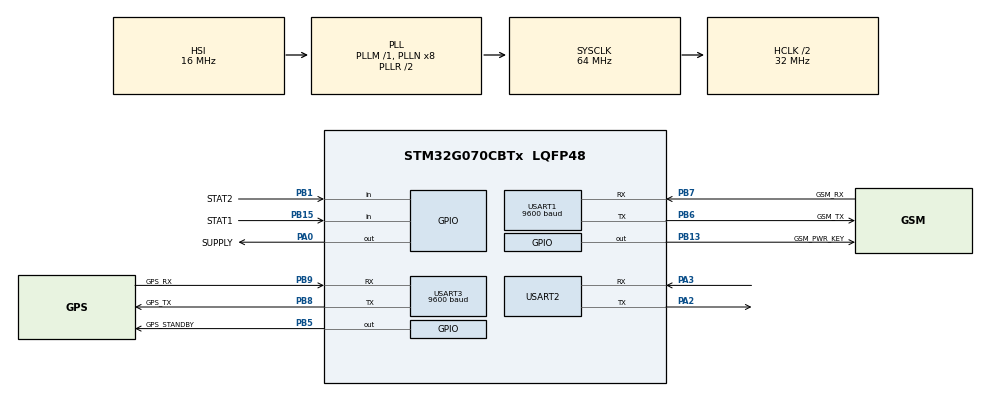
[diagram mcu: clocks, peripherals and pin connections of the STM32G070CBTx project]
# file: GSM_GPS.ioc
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Mcu.Family=STM32G0
Mcu.Name=STM32G070CBTx
Mcu.Package=LQFP48
NVIC.TIM6_IRQn=true\:0\:0\:false\:false\:true\:true\:true
NVIC.TIM7_IRQn=true\:0\:0\:false\:false\:true\:true\:true
NVIC.USART1_IRQn=true\:0\:0\:false\:false\:true\:true\:true
NVIC.USART3_4_IRQn=true\:0\:0\:false\:false\:true\:true\:true
PA0.GPIO_Label=SUPPLY
PA0.Signal=GPIO_Output
PA2.Mode=Asynchronous
PA2.Signal=USART2_TX
PA3.Mode=Asynchronous
PA3.Signal=USART2_RX
PB1.GPIO_Label=STAT2
PB1.Signal=GPIO_Input
PB13.GPIO_Label=GSM_PWR_KEY
PB13.Signal=GPIO_Output
PB15.GPIO_Label=STAT1
PB15.Signal=GPIO_Input
PB5.GPIO_Label=GPS_STANDBY
PB5.Signal=GPIO_Output
PB6.GPIO_Label=GSM_TX
PB6.Mode=Asynchronous
PB6.Signal=USART1_TX
PB7.GPIO_Label=GSM_RX
PB7.Mode=Asynchronous
PB7.Signal=USART1_RX
PB8.GPIO_Label=GPS_TX
PB8.Mode=Asynchronous
PB8.Signal=USART3_TX
PB9.GPIO_Label=GPS_RX
PB9.Mode=Asynchronous
PB9.Signal=USART3_RX
ProjectManager.HeapSize=0x200
ProjectManager.StackSize=0x400
ProjectManager.TargetToolchain=MDK-ARM V5.27
RCC.ADCFreq_Value=64000000
RCC.AHBCLKDivider=RCC_SYSCLK_DIV2
RCC.AHBFreq_Value=32000000
RCC.CortexFreq_Value=32000000
RCC.EXTERNAL_CLOCK_VALUE=48000
RCC.HCLKFreq_Value=32000000
RCC.HSE_VALUE=8000000
RCC.HSI_VALUE=16000000
RCC.LSE_VALUE=32768
RCC.SYSCLKFreq_VALUE=64000000
RCC.SYSCLKSource=RCC_SYSCLKSOURCE_PLLCLK
RCC.VCOOutputFreq_Value=128000000
USART1.BaudRate=9600
USART1.VirtualMode-Asynchronous=VM_ASYNC
USART2.VirtualMode-Asynchronous=VM_ASYNC
USART3.BaudRate=9600
USART3.VirtualMode-Asynchronous=VM_ASYNC
VP_SYS_VS_DBSignals.Mode=DisableDeadBatterySignals
VP_TIM6_VS_ClockSourceINT.Mode=Enable_Timer
VP_TIM7_VS_ClockSourceINT.Mode=Enable_Timer
board=custom

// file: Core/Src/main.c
/* USER CODE BEGIN Header */
/**
  ******************************************************************************
  * @file           : main.c
  * @brief          : Main program body
  ******************************************************************************
  * @attention
  *
  * <h2><center>&copy; Copyright (c) 2022 STMicroelectronics.
  * All rights reserved.</center></h2>
  *
  * This software component is licensed by ST under BSD 3-Clause license,
  * the "License"; You may not use this file except in compliance with the
  * License. You may obtain a copy of the License at:
  *                        opensource.org/licenses/BSD-3-Clause
  *
  ******************************************************************************
  */
/* USER CODE END Header */
#include "main.h"
#include "tim.h"
#include "usart.h"
#include "gpio.h"

/* USER CODE BEGIN Includes */

#include <stdio.h>
#include <string.h>
#include "gps.h"
#include "iwdg.h"
/* USER CODE END Includes */

/* USER CODE BEGIN PTD */

#define DEBUG
#ifdef DEBUG
#define DBG_MSG(...)   printf(__VA_ARGS__)
#else
#define DBG_MSG(...)
#endif
/* USER CODE END PTD */

/* USER CODE BEGIN PM */
#define MAJOR    0
#define MINOR    1
#define TEST_URL    0
#define HTTP_POST_WAIT_TIME     60000  // 90 seconds
#define GSM_RX_BUFFER_SIZE       1024

// uncomment required sim  and comment other
//#define VODA_IDEA
#define AIRTEL

#if defined(VODA_IDEA)
#define SIM_APN       "internet"
#elif  defined(AIRTEL)
#define SIM_APN       "airtelgprs.com"
#else
#define SIM_APN       "internet"
#endif

/* USER CODE END PM */

/* USER CODE BEGIN PV */
uint8_t gps_rx_buf[1024];
char at_tx_cmd_buff[256];
uint8_t GPS_RxBuffer[256];
volatile uint8_t gsm_rx_byte;
volatile uint8_t gps_rx_byte;
uint8_t gps_byte_count;
uint8_t sim800_send_data = 1;
uint8_t sim800_check_response = 0;
uint8_t error_count = 0;
uint8_t gps_recv_complete_flag, gps_string_f;
uint8_t gsm_rx_buf[GSM_RX_BUFFER_SIZE];
static uint16_t gsm_rx_byte_count = 0;
char payload[256];
uint8_t payload_len;
uint32_t http_post_max_time = HTTP_POST_WAIT_TIME;
char gpgga_gprmc[] = "$PMTK314,0,1,0,1,0,0,0,0,0,0,0,0,0,0,0,0,0,0,0*28\r\n";

#if TEST_URL
char http_url[] = "AT+HTTPPARA=URL,http://eb83-27-57-100-36.ngrok.io/gps/gps.php\r\n";
char http_get_url[] = "AT+HTTPPARA=URL,http://361f-27-58-27-182.ngrok.io/gps/gps.php?data=devilal\r\n";
#else
char http_get_url[] = "";
//char http_url[] = "AT+HTTPPARA=URL,http://205.147.101.144:3888/vaishnav_tv/add_location\r\n";
//char http_url[] = "AT+HTTPPARA=URL,http://6198-117-99-161-242.ngrok.io/gps/gps.php\r\n";
char http_url[] = "AT+HTTPPARA=URL,http://needon.fluttertrends.com/api/location-store\r\n";
#endif

/* USER CODE END PV */

void SystemClock_Config(void);
/* USER CODE BEGIN PFP */
void clear_buffer(uint8_t *buff, uint16_t size);
void copy_buffer(uint8_t *dst, const uint8_t *src, uint16_t size);
void gsm_power_on(void);
void gsm_power_off(void);
void check_sim800_modem_ready(void);
void sim800_init(void);
void sim800_gprs_config(void);
void sim800_http_post(void);
void send_at_cmd(char *pdata);
static void at_receive(void);
static void at_clear_rx_buffer(void);
static void prepare_payload(void);

void enable_interrupt(void);
void disbale_interrupt(void);
/* USER CODE END PFP */

/* USER CODE BEGIN 0 */
extern uint32_t one_sec_delay;
extern uint32_t five_sec_delay;
extern uint32_t sim800_timeout;
extern uint32_t ten_ms_delay;
extern volatile tim_flag_t tim_flag;

// location variable
extern float latitude;
extern float longitude ;
extern uint8_t is_loc_valid;
char imei[15];
uint8_t is_sms_received = 0;
uint8_t sock_connected = 0;
uint8_t pdp_act = 0;

typedef enum
{
  ATE0_State,
  AT_CPIN,                     // sim card ready
  AT_GSN,                     // get IMEI number
  AT_CREG_State,              // get registration status
  AT_CGATT_State,             // query  gprs status
  AT_CGATT_SET_State,          // set gprs
  //--------------------------------------------------------------
  AT_SAPBR_CONTYPE_State,     // set CONTYPE in bearer profile
  AT_SAPBR_APN_State,         // set APN in bearer profile
  AT_SAPBR_ACTIVATE_State,    // open gprs context
  AT_SAPBR_IP_State,          // get ip from actiavted bearer
  AT_HTTP_INIT_State,
  AT_HTTPPARA_CID_State,
  AT_HTTPPARA_URL_State,
  AT_HTTPPARA_CONTENT_State,
  AT_HTTP_POST_DATA_LEN_State,
  AT_HTTPDATA_State,
  AT_HTTPACTION_State,          // 1- post, 0- get
  AT_HTTPREAD_State,
  AT_HTTPTERM_State,
  AT_SAPBR_DEACTIVATE_State,   // close gprs context
  //--------------------------------------------------------------
  AT_CPOWD,    // Manual Power Down
  //--------------------------------------------------------------
  AT_D,        // dial phone number used to make call
  AT_H,        // Hang a Call
  AT_CMGF,     // sms text mode
  AT_CMGR,     // for read sms
  AT_CMGD,     // for Delete SMS
  //--------------------------------------------------------------
  AT_CSTT,     // set APN
  AT_CIICR,    // bring wireless connection
  AT_CIFSR,    // get local ip
  AT_CIPSTART, // Start tcp Connection
  AT_CIPSEND,  // open window_to_send_data
  AT_DATA_TO_SEND, // intermediate state
  AT_CIPCLOSE,
  AT_CIPSHUT,
  //--------------------------------------------------------------
  AT_GPRS_CONF_DONE,
  AT_HTTP_DONE,
  AT_SMS_DONE,
}SIM800_AT_CMD_State;

SIM800_AT_CMD_State at_state = ATE0_State;

uint8_t sleep_mode_flag = 0;

char *AT_DEBUG[50] = {
  "ATE0_State\r\n",
  "AT_GSN\r\n",                     // get IMEI number
  "AT_CREG_State\r\n",              // get registration status
  "AT_CGATT_State\r\n",             // query  gprs status
  "AT_CGATT_SET_State\r\n",          // set gprs
  //--------------------------------------------------------------
  "AT_SAPBR_CONTYPE_State\r\n",     // set CONTYPE in bearer profile
  "AT_SAPBR_APN_State\r\n",         // set APN in bearer profile
  "AT_SAPBR_ACTIVATE_State\r\n",    // open gprs context
  "AT_SAPBR_IP_State\r\n",          // get ip from actiavted bearer
  "AT_HTTP_INIT_State\r\n",
  "AT_HTTPPARA_CID_State\r\n",
  "AT_HTTPPARA_URL_State\r\n",
  "AT_HTTPPARA_CONTENT_State\r\n",
  "AT_HTTP_POST_DATA_LEN_State\r\n",
  "AT_HTTPDATA_State\r\n",
  "AT_HTTPACTION_State\r\n",          // 1- post, 0- get
  "AT_HTTPREAD_State\r\n",
  "AT_HTTPTERM_State\r\n",
  "AT_SAPBR_DEACTIVATE_State\r\n",   // close gprs context
  //--------------------------------------------------------------
  "AT_CPOWD\r\n",    // Manual Power Down
  //--------------------------------------------------------------
  "AT_D\r\n",        // dial phone number used to make call
  "AT_H\r\n",        // Hang a Call
  "AT_CMGF\r\n",     // sms text mode
  "AT_CMGR\r\n",     // for read sms
  "AT_CMGD\r\n",     // for Delete SMS
  //--------------------------------------------------------------
  "AT_CSTT\r\n",     // set APN
  "AT_CIICR\r\n",    // bring wireless connection
  "AT_CIFSR\r\n",    // get local ip
  "AT_CIPSTART\r\n", // Start tcp Connection
  "AT_CIPSEND\r\n",  // open window_to_send_data
  "AT_DATA_TO_SEND\r\n", // intermediate state
  "AT_CIPCLOSE\r\n",
  "AT_CIPSHUT\r\n",
  //--------------------------------------------------------------
  "AT_GPRS_CONF_DONE\r\n",
  "AT_HTTP_DONE\r\n",
  "AT_SMS_DONE\r\n",
};
/* USER CODE END 0 */

int main(void)
{

  /* MCU Configuration--------------------------------------------------------*/

  /* Reset of all peripherals, Initializes the Flash interface and the Systick. */
  HAL_Init();

  /* Configure the system clock */
  SystemClock_Config();

  /* Initialize all configured peripherals */
  MX_GPIO_Init();
  MX_USART1_UART_Init();
  MX_USART2_UART_Init();
  MX_USART3_UART_Init();
  MX_TIM6_Init();
  MX_TIM7_Init();

  /* USER CODE BEGIN 2 */
//  IWDG_Init();
//  HAL_GPIO_WritePin(SUPPLY_GPIO_Port, SUPPLY_Pin, GPIO_PIN_SET);
  HAL_Delay(2000);
  DBG_MSG("soft ver-%d.%d\r\n", MAJOR, MINOR);
  gsm_power_on();
  check_sim800_modem_ready();
  sim800_init();
  sim800_gprs_config();

  /* Enable only gpgga and gprmc string  */
  HAL_UART_Transmit(&huart3,(uint8_t *)gpgga_gprmc, strlen(gpgga_gprmc),100);
  HAL_UART_Receive(&huart3,(uint8_t *)gps_rx_buf, 20,1000);

  /* fall through some times above cammand not executed */
  HAL_UART_Transmit(&huart3,(uint8_t *)gpgga_gprmc, strlen(gpgga_gprmc),100);
  HAL_UART_Receive(&huart3,(uint8_t *)gps_rx_buf, 20,1000);

  HAL_NVIC_SetPriority(USART3_4_IRQn, 0, 0);
  HAL_NVIC_EnableIRQ(USART3_4_IRQn);
  __HAL_UART_CLEAR_IT(&huart3,UART_IT_RXNE);
  __HAL_UART_ENABLE_IT(&huart3,UART_IT_RXNE);
  clear_buffer(gps_rx_buf, 256);
  HAL_UART_Receive_IT(&huart3, (uint8_t *)&gps_rx_byte,1);

  HAL_UART_Receive_IT(&huart1, (uint8_t *)&gsm_rx_byte,1);
//  HAL_UART_Transmit(&huart1, (uint8_t *)"AT\r\n", 4, 100);
  /* USER CODE END 2 */
  is_loc_valid = 1;
  /* Infinite loop */
  while (1)
  {

    /* USER CODE BEGIN 3 */
    if(tim_ten_ms_overflow())
    {
      if(gps_recv_complete_flag == 1)
      {
        gps_recv_complete_flag = 0;
        gps_string_f = 0;
        process_gps_data((char *)GPS_RxBuffer);
        __HAL_UART_CLEAR_IT(&huart3,UART_IT_RXNE);
        __HAL_UART_ENABLE_IT(&huart3,UART_IT_RXNE);
        HAL_NVIC_EnableIRQ(USART3_4_IRQn);
        HAL_UART_Receive_IT(&huart3, (uint8_t *)&gps_rx_byte,1);
      }
    }

    if(tim_one_sec_overflow())
    {
      if(strstr((char *)gsm_rx_buf, "+SAPBR 1: DEACT")>0)
      {
        pdp_act = 0;
      }

      if(strstr((char *)gsm_rx_buf, "RING")>0)
      {
        // Check Call
        clear_buffer(gsm_rx_buf, GSM_RX_BUFFER_SIZE);
        gsm_rx_byte_count = 0;
        send_at_cmd("ATH\r\n");
      }
    }

#if 1
    if(is_loc_valid)
    {
      DBG_MSG("{latitude : %.06f, longitude : %.06f}\r\n",latitude, longitude);
      is_loc_valid = 1;
      if(pdp_act == 0)
      {
        sim800_gprs_config();
      }
      DBG_MSG("--------------------HTTP POST--------------------");
      sim800_http_post();
      sleep_mode_flag = 1;
    }
#endif

    if(sleep_mode_flag == 1)
    {
      sleep_mode_flag = 0;
      disbale_interrupt();
      HAL_PWR_EnterSLEEPMode(PWR_LOWPOWERREGULATOR_ON, PWR_SLEEPENTRY_WFI);
      enable_interrupt();
    }
  }
  /* USER CODE END 3 */
}

void disbale_interrupt(void)
{
    HAL_SuspendTick();
    HAL_NVIC_ClearPendingIRQ(USART3_4_IRQn);
    HAL_NVIC_ClearPendingIRQ(USART1_IRQn);
    HAL_NVIC_DisableIRQ(USART3_4_IRQn);
    HAL_NVIC_DisableIRQ(USART1_IRQn);
    HAL_TIM_Base_Stop_IT(&htim6);
    NVIC->ICPR[0] = 0xFFFFFFFF;
    HAL_TIM_Base_Start_IT(&htim7);
}

void enable_interrupt(void)
{
    HAL_ResumeTick();
    HAL_TIM_Base_Stop_IT(&htim7);
    NVIC->ICPR[0] = 0xFFFFFFFF;
    HAL_NVIC_ClearPendingIRQ(USART3_4_IRQn);
    HAL_NVIC_ClearPendingIRQ(USART1_IRQn);
    HAL_NVIC_EnableIRQ(USART3_4_IRQn);
    HAL_NVIC_EnableIRQ(USART1_IRQn);
    HAL_TIM_Base_Start_IT(&htim6);
    HAL_UART_Receive_IT(&huart3, (uint8_t *)&gps_rx_byte,1);
    at_clear_rx_buffer();
    at_receive();
}

static void at_clear_rx_buffer(void)
{
  gsm_rx_byte_count= 0;
  memset(gsm_rx_buf, 0x00, sizeof(gsm_rx_buf));
}

static void at_receive(void)
{
  __HAL_UART_CLEAR_IT(&huart1, UART_IT_RXNE);
  HAL_UART_Receive_IT(&huart1, (uint8_t *)&gsm_rx_byte,1);
}

/* USER CODE BEGIN */

void sim800_http_post(void)
{
  uint8_t is_http_post_done = 0;
  uint32_t time_out = ONE_SEC_DELAY;
  at_state = AT_HTTP_INIT_State;
  uint32_t start_time = HAL_GetTick();
  sim800_send_data = 1;
  do{
    if(sim800_send_data)
    {
      DBG_MSG("%s", AT_DEBUG[at_state]);
      at_clear_rx_buffer();
      at_receive();
      switch(at_state)
      {
        case AT_HTTP_INIT_State:
          send_at_cmd("AT+HTTPINIT\r\n");
          break;

        case AT_HTTPPARA_CID_State:
           send_at_cmd("AT+HTTPPARA=\"CID\",1\r\n");
          break;

        case AT_HTTPPARA_URL_State:
           send_at_cmd(http_url);
          break;

        case AT_HTTPPARA_CONTENT_State:
          {
            char content_type[] = "AT+HTTPPARA=CONTENT,application/x-www-form-urlencoded\r\n";
            send_at_cmd(content_type);
          }
          break;

        case AT_HTTP_POST_DATA_LEN_State:
          {
            prepare_payload();
            char htpp_data_cmd[100];
            payload_len = payload_len -2;
            sprintf(htpp_data_cmd,"AT+HTTPDATA=%d,10000\r\n",payload_len);
            send_at_cmd(htpp_data_cmd);
          }
          break;

        case AT_HTTPDATA_State:
        {
           send_at_cmd(payload);
        }
        break;

        case AT_HTTPACTION_State:
          send_at_cmd("AT+HTTPACTION=1\r\n");
          time_out = THREE_SEC_DELAY;
          break;

        case AT_HTTPREAD_State:
           send_at_cmd("AT+HTTPREAD\r\n");
          time_out = ONE_SEC_DELAY;
          break;

        case AT_HTTPTERM_State:
          send_at_cmd("AT+HTTPTERM\r\n");
          break;

        case AT_CPOWD:
          send_at_cmd("AT+CPOWD=1\r\n");
          break;

        default:
          break;
      }
      sim800_send_data = 0;
      tim_flag.sim800_timeout_flag = 0;
      sim800_timeout += time_out;//FIVE_SEC_DELAY;
      sim800_check_response = 1;
    }

    if(sim800_timer_overflow())
    {
      DBG_MSG("%s",(char *)gsm_rx_buf);
      if(sim800_check_response)
      {
        sim800_check_response = 0;
        sim800_send_data = 1;

        if(strstr((char *)gsm_rx_buf, "+SAPBR 1: DEACT")>0)
        {
          pdp_act = 0;
        }

        if(strstr((char *)gsm_rx_buf,"\r\nERROR\r\n")>0)
        {
          error_count++;
          if(error_count > 5)
          {
            HAL_Delay(1000);
            at_state = AT_CPOWD;

          }
        }else
        {
          error_count = 0;
        }
        switch(at_state)
        {
          case AT_HTTP_INIT_State:
            if(strstr((char *)gsm_rx_buf,"\r\nOK\r\n")>0)
            {
              at_state = AT_HTTPPARA_CID_State;;
            }
            else
            {
              at_state = AT_HTTPTERM_State;
            }
            break;

          case AT_HTTPPARA_CID_State:
            if(strstr((char *)gsm_rx_buf,"\r\nOK\r\n")>0)
            {
              at_state = AT_HTTPPARA_URL_State;
            }
            break;

          case AT_HTTPPARA_URL_State:
            if(strstr((char *)gsm_rx_buf,"\r\nOK\r\n")>0)
            {
              at_state = AT_HTTPPARA_CONTENT_State;
            }
            break;

          case AT_HTTPPARA_CONTENT_State:
            if(strstr((char *)gsm_rx_buf,"\r\nOK\r\n")>0)
            {
              at_state = AT_HTTP_POST_DATA_LEN_State;
            }
            break;

          case AT_HTTP_POST_DATA_LEN_State:
            if(strstr((char *)gsm_rx_buf,"\r\nDOWNLOAD\r\n")>0)
            {
              at_state = AT_HTTPDATA_State;
            }
            break;

          case AT_HTTPDATA_State:
            if(strstr((char *)gsm_rx_buf,"\r\nOK\r\n")>0)
            {
              at_state = AT_HTTPACTION_State;
            }
            break;

          case AT_HTTPACTION_State:
            if(strstr((char *)gsm_rx_buf,"\r\n+HTTPACTION: 1,200,")>0)
            {
              at_state = AT_HTTPREAD_State;
            }
            else if(strstr((char *)gsm_rx_buf,"\r\n+HTTPACTION: 1,301,")>0)
            {
              at_state = AT_HTTPTERM_State;
            }
            else if(strstr((char *)gsm_rx_buf,"\r\n+HTTPACTION: 1,601,")>0)
            {
              at_state = AT_HTTPTERM_State;
            }else
            {
              sim800_send_data = 0;
              sim800_check_response = 1;
            }
            break;

          case AT_HTTPREAD_State:
            if(strstr((char *)gsm_rx_buf,"\r\n+HTTPREAD: ")>0)
            {
              at_state = AT_HTTPTERM_State;

            }
//              else if(strstr((char *)gsm_rx_buf,"\r\nOK\r\n")>0)
//            {
//              at_state = AT_HTTPTERM_State;
//            }
            break;

          case AT_HTTPTERM_State:
            if(strstr((char *)gsm_rx_buf,"\r\nOK\r\n")>0)
            {
              at_state = AT_HTTP_DONE;
              is_http_post_done = 1;
            }
            else
            {
              at_state = AT_HTTP_DONE;
              is_http_post_done = 1;
            }
            break;

          case AT_CPOWD:
            if(strstr((char *)gsm_rx_buf,"NORMAL POWER DOWN")>0)
            {
              HAL_Delay(2000);
              HAL_NVIC_SystemReset();
            }
            break;

          default:
            //at_state=  ATE0_State;
            break;
        }
      }
      at_clear_rx_buffer();
      at_receive();
    }

   if((HAL_GetTick()-start_time)>http_post_max_time)
   {
     is_http_post_done = 1;
   }
  }while((!is_http_post_done));
}

void sim800_gprs_config(void)
{
  sim800_send_data = 1;
  uint32_t time_out = ONE_SEC_DELAY;
  uint8_t is_gprs_init = 0;
  at_state = AT_CGATT_State;
  uint32_t start_time = HAL_GetTick();
  do{
    if(sim800_send_data)
    {
      DBG_MSG("%s",AT_DEBUG[at_state]);
      at_clear_rx_buffer();
      at_receive();
      switch(at_state)
      {
        case AT_CGATT_State:
          send_at_cmd("AT+CGATT?\r\n");
          break;

        case AT_CGATT_SET_State:
          send_at_cmd("AT+CGATT=1\r\n");
          break;

        case AT_SAPBR_CONTYPE_State:
          send_at_cmd("AT+SAPBR=3,1,\"CONTYPE\",\"GPRS\"\r\n");
          break;

        case AT_SAPBR_APN_State:
          {
            char temp_buff[50];
            sprintf(temp_buff,"AT+SAPBR=3,1,\"APN\","SIM_APN"\r\n"); //@TODO: to be checked
            send_at_cmd(&temp_buff[0]);
          }
          break;

        case AT_SAPBR_DEACTIVATE_State:
          send_at_cmd("AT+SAPBR=0,1\r\n");
          break;

        case AT_SAPBR_ACTIVATE_State:
          send_at_cmd("AT+SAPBR=1,1\r\n");
          break;

        case AT_SAPBR_IP_State:
          send_at_cmd("AT+SAPBR=2,1\r\n");
          break;

        case AT_CPOWD:
          send_at_cmd("AT+CPOWD=1\r\n");
          break;
        default:
          break;
      }
      sim800_send_data = 0;
      tim_flag.sim800_timeout_flag = 0;
      sim800_timeout += time_out;
      sim800_check_response = 1;
    }

    if(sim800_timer_overflow())
    {
      DBG_MSG("%s",(char *)gsm_rx_buf);
      if(sim800_check_response)
      {
        sim800_check_response = 0;
        switch(at_state)
        {
					case AT_CGATT_State:
						if(strstr((char *)gsm_rx_buf,"\r\n+CGATT: 1\r\n\r\nOK\r\n")>0)
						{
							at_state = AT_SAPBR_CONTYPE_State;
						}
						else
						{
							at_state = AT_CGATT_SET_State;
						}
						break;
					case AT_CGATT_SET_State:
						if(strstr((char *)gsm_rx_buf,"\r\nOK\r\n")>0)
						{
							at_state = AT_SAPBR_CONTYPE_State;
						}
						break;

          case AT_SAPBR_CONTYPE_State:
            if(strstr((char *)gsm_rx_buf,"\r\nOK\r\n")>0)
            {
              at_state = AT_SAPBR_APN_State;;
            }
            break;

          case AT_SAPBR_APN_State:
            if(strstr((char *)gsm_rx_buf,"\r\nOK\r\n")>0)
            {
              at_state = AT_SAPBR_DEACTIVATE_State;
            }
            break;

          case AT_SAPBR_DEACTIVATE_State:
            at_state = AT_SAPBR_ACTIVATE_State;
            break;

          case AT_SAPBR_ACTIVATE_State:
            if(strstr((char *)gsm_rx_buf,"\r\nOK\r\n")>0)
            {
              at_state = AT_SAPBR_IP_State;
            }
            break;

          case AT_SAPBR_IP_State:
            if(strstr((char *)gsm_rx_buf,"\r\n+SAPBR: 1,1,\"")>0)
            {
              pdp_act = 1;
              at_state = AT_GPRS_CONF_DONE;
              is_gprs_init = 1;
            }
            else if(strstr((char *)gsm_rx_buf,"\r\n+SAPBR: 1,3,\"")>0)
            {
              at_state = AT_CPOWD;
            }
            break;

          case AT_CPOWD:
            if(strstr((char *)gsm_rx_buf,"NORMAL POWER DOWN")>0)
            {
              HAL_Delay(2000);
              HAL_NVIC_SystemReset();
            }
            break;
          default:
            break;
        }
        sim800_send_data = 1;
      }

      if((HAL_GetTick()- start_time)> 60*1000)
      {
        start_time = HAL_GetTick();
        at_state = AT_CPOWD;
      }
    }
  }while(!is_gprs_init);
}

void sim800_init(void)
{
  uint32_t time_out = ONE_SEC_DELAY;
  uint8_t is_gsm_init = 0;
  at_state = ATE0_State;
  uint32_t start_time = HAL_GetTick();
  sim800_send_data = 1;
  do{
    if(sim800_send_data)
    {
      DBG_MSG("%s", AT_DEBUG[at_state]);

      at_clear_rx_buffer();
      at_receive();
      switch(at_state)
      {
        case ATE0_State:
          send_at_cmd("ATE0\r\n");
          send_at_cmd("ATE0\r\n");
          break;

         case AT_CPIN:
          send_at_cmd("AT+CPIN?\r\n");
          break;

        case AT_GSN:
          send_at_cmd("AT+GSN\r\n");
          break;

        case AT_CMGF:
          send_at_cmd("AT+CMGF=1\r\n");
        break;

        case AT_CREG_State:
          send_at_cmd("AT+CREG?\r\n");
          break;

        case AT_CPOWD:
          send_at_cmd("AT+CPOWD=1\r\n");
          break;

        default:
          break;
      }
      sim800_send_data = 0;
      tim_flag.sim800_timeout_flag = 0;
      sim800_timeout += time_out;
      sim800_check_response = 1;
    }

    if(sim800_timer_overflow())
    {
      if(sim800_check_response)
      {
        DBG_MSG("%s",(char *)gsm_rx_buf);
        sim800_check_response = 0;
        switch(at_state)
        {
          case ATE0_State:
            if(strncmp((char *)gsm_rx_buf,"\r\nOK\r\n",6)==0)
            {
              at_state = AT_CPIN;
            }
            break;

          case AT_CPIN:
            if (strstr((char *)gsm_rx_buf, "+CPIN: READY") > 0)
            {
              at_state = AT_GSN;
            }
            break;

          case AT_GSN:
            if(strstr((char *)gsm_rx_buf,"\r\nOK\r\n")>0)
            {
              if(gsm_rx_buf[2] >= 0x30 && gsm_rx_buf[2] <= 0x39)
              {
                strncpy(imei,(char *)&gsm_rx_buf[2],15);
              }
              else
              {
                strncpy(imei,(char *)&gsm_rx_buf[9],15);
              }
              at_state = AT_CMGF;
            }
            break;

          case AT_CMGF:
            if(strstr((char*)gsm_rx_buf,"\r\nOK\r\n")>0)
            {
              at_state = AT_CREG_State;
            }
            break;

          case AT_CREG_State:
            if(strstr((char *)gsm_rx_buf,"\r\n+CREG: 0,1")>0)
            {
              // home network
              is_gsm_init = 1;
            }
            else if(strstr((char *)gsm_rx_buf,"\r\n+CREG: 0,5")>0)
            {
              // roaming network
              is_gsm_init = 1;
            }
            break;

          case AT_CPOWD:
            if(strstr((char *)gsm_rx_buf,"NORMAL POWER DOWN")>0)
            {
              HAL_Delay(2000);
              HAL_NVIC_SystemReset();
            }
          default:
            break;
        }
        sim800_send_data = 1;
      }

      if((HAL_GetTick()- start_time)> 60*1000)
      {
        start_time = HAL_GetTick();
        at_state = AT_CPOWD;
      }
    }
  }while(!is_gsm_init);
}

void SystemClock_Config(void)
{
  RCC_OscInitTypeDef RCC_OscInitStruct = {0};
  RCC_ClkInitTypeDef RCC_ClkInitStruct = {0};
  RCC_PeriphCLKInitTypeDef PeriphClkInit = {0};

  /** Configure the main internal regulator output voltage
  */
  HAL_PWREx_ControlVoltageScaling(PWR_REGULATOR_VOLTAGE_SCALE1);
  /** Initializes the RCC Oscillators according to the specified parameters
  * in the RCC_OscInitTypeDef structure.
  */
  RCC_OscInitStruct.OscillatorType = RCC_OSCILLATORTYPE_HSI;
  RCC_OscInitStruct.HSIState = RCC_HSI_ON;
  RCC_OscInitStruct.HSIDiv = RCC_HSI_DIV1;
  RCC_OscInitStruct.HSICalibrationValue = RCC_HSICALIBRATION_DEFAULT;
  RCC_OscInitStruct.PLL.PLLState = RCC_PLL_ON;
  RCC_OscInitStruct.PLL.PLLSource = RCC_PLLSOURCE_HSI;
  RCC_OscInitStruct.PLL.PLLM = RCC_PLLM_DIV1;
  RCC_OscInitStruct.PLL.PLLN = 8;
  RCC_OscInitStruct.PLL.PLLP = RCC_PLLP_DIV2;
  RCC_OscInitStruct.PLL.PLLR = RCC_PLLR_DIV2;
  if (HAL_RCC_OscConfig(&RCC_OscInitStruct) != HAL_OK)
  {
    Error_Handler();
  }
  /** Initializes the CPU, AHB and APB buses clocks
  */
  RCC_ClkInitStruct.ClockType = RCC_CLOCKTYPE_HCLK|RCC_CLOCKTYPE_SYSCLK
                              |RCC_CLOCKTYPE_PCLK1;
  RCC_ClkInitStruct.SYSCLKSource = RCC_SYSCLKSOURCE_PLLCLK;
  RCC_ClkInitStruct.AHBCLKDivider = RCC_SYSCLK_DIV2;
  RCC_ClkInitStruct.APB1CLKDivider = RCC_HCLK_DIV1;

  if (HAL_RCC_ClockConfig(&RCC_ClkInitStruct, FLASH_LATENCY_1) != HAL_OK)
  {
    Error_Handler();
  }
  /** Initializes the peripherals clocks
  */
  PeriphClkInit.PeriphClockSelection = RCC_PERIPHCLK_USART1|RCC_PERIPHCLK_USART2;
  PeriphClkInit.Usart1ClockSelection = RCC_USART1CLKSOURCE_PCLK1;
  PeriphClkInit.Usart2ClockSelection = RCC_USART2CLKSOURCE_PCLK1;
  if (HAL_RCCEx_PeriphCLKConfig(&PeriphClkInit) != HAL_OK)
  {
    Error_Handler();
  }
}

/* USER CODE BEGIN 4 */
void HAL_UART_RxCpltCallback(UART_HandleTypeDef *huart)
{
  if(huart->Instance == huart3.Instance)
  {
    static uint8_t new_line_count = 0;;
    if( new_line_count == 2)
    {
      __HAL_UART_DISABLE_IT(&huart3, UART_IT_RXNE);
      HAL_NVIC_ClearPendingIRQ(USART3_4_IRQn);
      HAL_NVIC_DisableIRQ(USART3_4_IRQn);
      clear_buffer(GPS_RxBuffer, 256);
      copy_buffer(GPS_RxBuffer,gps_rx_buf,gps_byte_count);
      clear_buffer(gps_rx_buf, gps_byte_count);
      new_line_count = 0;
      gps_byte_count = 0;
      gps_recv_complete_flag = 1;
    }
    else
    {
      if((gps_rx_byte == '$') && (gps_byte_count == 0) && (gps_string_f == 0))
      {
        gps_rx_buf[gps_byte_count] = gps_rx_byte;
        gps_byte_count++;
        gps_string_f = 1;
      }
      else if(gps_string_f == 1)
      {
        if(gps_rx_byte == '\n')
        {
          new_line_count++;
        }
        gps_rx_buf[gps_byte_count] = gps_rx_byte;
        gps_byte_count++;
      }
      else
      {
        gps_byte_count = 0;
      }
      HAL_UART_Receive_IT(&huart3, (uint8_t *)&gps_rx_byte, 1);
    }
  }

  if(huart->Instance == USART1)
  {
    if(gsm_rx_byte_count > (GSM_RX_BUFFER_SIZE -1))
    {
      gsm_rx_byte_count = 0;
      clear_buffer(gsm_rx_buf, GSM_RX_BUFFER_SIZE);
    }
    gsm_rx_buf[gsm_rx_byte_count++] = gsm_rx_byte;
    HAL_UART_Receive_IT(&huart1, (uint8_t *)&gsm_rx_byte ,1);
  }
}

void copy_buffer(uint8_t *dst, const uint8_t *src, uint16_t size)
{
  while(size)
  {
    size--;
    *dst = *src;
    dst++;
    src++;
  }
}

static void prepare_payload(void)
{
  clear_buffer((uint8_t *)payload, 255);
#if TEST_URL
  payload_len = sprintf(payload,"data=lat:%.06f,lng:%.06f,from_input:%s,location:jaipur\r\n",latitude,longitude,imei);
#else
   //latitude = latitude + 1.0f;
  //payload_len = sprintf(payload,"lat=%.06f&lng=%.06f&from_input=%s&location=jaipur\r\n",latitude,longitude,imei);
  payload_len = sprintf(payload,"latitude=%.06f&longitude=%.06f&device_name=%s&location=jaipur\r\n",latitude,longitude,imei);
#endif
}

void gsm_power_on(void)
{
  HAL_GPIO_WritePin(GSM_PWR_KEY_GPIO_Port, GSM_PWR_KEY_Pin, GPIO_PIN_RESET);
  HAL_Delay(1200);
  HAL_GPIO_WritePin(GSM_PWR_KEY_GPIO_Port, GSM_PWR_KEY_Pin,GPIO_PIN_SET);
  HAL_Delay(2000);
}

void gsm_power_off(void)
{
  HAL_GPIO_WritePin(GSM_PWR_KEY_GPIO_Port, GSM_PWR_KEY_Pin, GPIO_PIN_RESET);
  HAL_Delay(1200);
  HAL_GPIO_WritePin(GSM_PWR_KEY_GPIO_Port, GSM_PWR_KEY_Pin,GPIO_PIN_SET);
  HAL_Delay(2000);
}

void check_sim800_modem_ready(void)
{
  uint8_t power_on = 1;
  uint32_t start_time = HAL_GetTick();
  sim800_send_data = 1;
  do{
      if(sim800_send_data)
      {
        at_clear_rx_buffer();
        at_receive();
        send_at_cmd("AT\r\n");
        sim800_send_data = 0;
        tim_flag.sim800_timeout_flag = 0;
        sim800_timeout += THREE_SEC_DELAY;
      }

      if(sim800_timer_overflow())
      {
        DBG_MSG("%s\r\n", (char *)gsm_rx_buf);
        sim800_send_data = 1;
        if(strstr((char *)gsm_rx_buf,"AT\r\r\nOK\r\n")>0)
        {
          power_on = 0;
        }
      }

      if(power_on == 0)
      {
        at_clear_rx_buffer();
        at_receive();
        HAL_Delay(10000);

      }

      if((HAL_GetTick()- start_time)> 45*1000)
      {
        gsm_power_off();
        HAL_NVIC_SystemReset();
      }
   }while(power_on);
}

void send_at_cmd(char *pdata)
{
  HAL_UART_Transmit(&huart1, (uint8_t *)pdata, strlen(pdata), HAL_MAX_DELAY);
}

void clear_buffer(uint8_t *buff, uint16_t size)
{
  while(size)
  {
    size--;
    buff[size] = '\0';
  }
}

struct __FILE {
int handle;
};

FILE __stdout;

int fputc(int ch, FILE *f)
{
  (void) (f);
  HAL_UART_Transmit(&huart2, (uint8_t *)&ch, 1, 100);
  return ch;
}
/* USER CODE END 4 */

void Error_Handler(void)
{
  __disable_irq();
  while (1)
  {
  }
}

/************************ (C) COPYRIGHT STMicroelectronics *****END OF FILE****/
